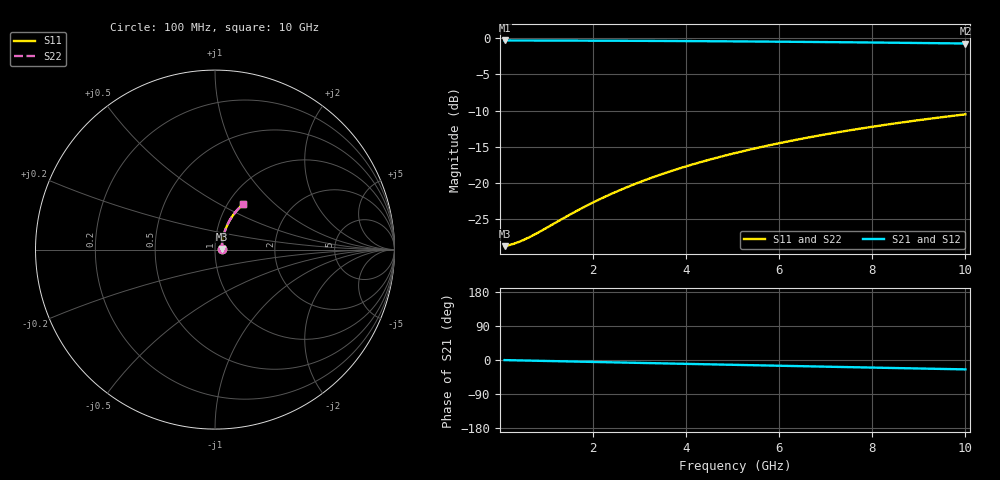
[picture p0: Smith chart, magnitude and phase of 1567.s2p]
# Hz S RI R 50.00
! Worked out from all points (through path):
!   100 points, 100 MHz to 10 GHz, reference 50 ohm
!   highest |S21| = -0.32 dB at 100 MHz (marker M1); lowest = -0.7 dB at 10 GHz (marker M2)
!   group delay of S21, straight-line fit = 6.89 ps
!   lowest |S11| = -28.7 dB at 100 MHz (marker M3), VSWR 1.08, Z = 53.8 + j0.322 ohm
!   |S11| at or under -10 dB: start of sweep to end of sweep
!   |S22| runs from -28.7 to -10.5 dB; largest |S21 - S12| = 0
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1e8  0.0365 0.00299  0.9635 -0.0043  0.9635 -0.0043  0.0365 0.00299
3e8  0.0371 0.00896  0.9629 -0.0129  0.9629 -0.0129  0.0371 0.00896
4e8  0.0373 0.0119  0.9627 -0.0172  0.9627 -0.0172  0.0373 0.0119
6e8  0.0378 0.0179  0.9622 -0.0257  0.9622 -0.0257  0.0378 0.0179
8e8  0.0383 0.0238  0.9616 -0.0343  0.9616 -0.0343  0.0383 0.0238
1.5e9  0.0409 0.0445  0.9589 -0.0642  0.9589 -0.0642  0.0409 0.0445
1.8e9  0.0424 0.0533  0.9573 -0.0769  0.9573 -0.0769  0.0424 0.0533
2.2e9  0.0446 0.065  0.9549 -0.0938  0.9549 -0.0938  0.0446 0.065
2.6e9  0.0473 0.0765  0.9521 -0.1106  0.9521 -0.1106  0.0473 0.0765
3e9  0.0504 0.0879  0.9488 -0.1272  0.9488 -0.1272  0.0504 0.0879
3.4e9  0.0538 0.0992  0.9452 -0.1438  0.9452 -0.1438  0.0538 0.0992
3.8e9  0.0576 0.1103  0.9411 -0.1601  0.9411 -0.1601  0.0576 0.1103
4.2e9  0.0618 0.1213  0.9366 -0.1763  0.9366 -0.1763  0.0618 0.1213
4.6e9  0.0664 0.132  0.9317 -0.1923  0.9317 -0.1923  0.0664 0.132
5.1e9  0.0726 0.1452  0.9251 -0.2121  0.9251 -0.2121  0.0726 0.1452
5.5e9  0.0779 0.1555  0.9194 -0.2276  0.9194 -0.2276  0.0779 0.1555
5.9e9  0.0836 0.1655  0.9133 -0.2429  0.9133 -0.2429  0.0836 0.1655
6.7e9  0.0958 0.1849  0.9002 -0.2728  0.9002 -0.2728  0.0958 0.1849
7.5e9  0.1093 0.2032  0.8857 -0.3017  0.8857 -0.3017  0.1093 0.2032
8.4e9  0.1256 0.2224  0.8681 -0.3328  0.8681 -0.3328  0.1256 0.2224
9.2e9  0.1412 0.2382  0.8513 -0.3592  0.8513 -0.3592  0.1412 0.2382
1e10  0.1575 0.2528  0.8335 -0.3844  0.8335 -0.3844  0.1575 0.2528
